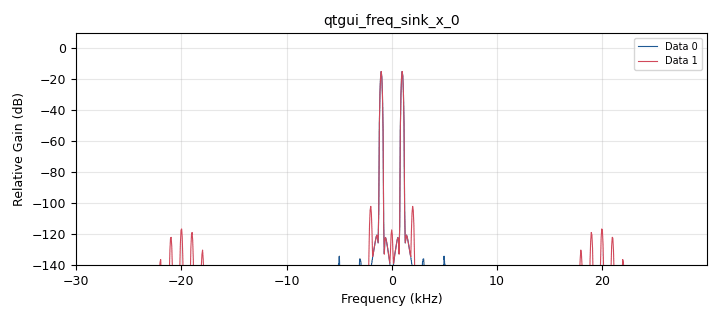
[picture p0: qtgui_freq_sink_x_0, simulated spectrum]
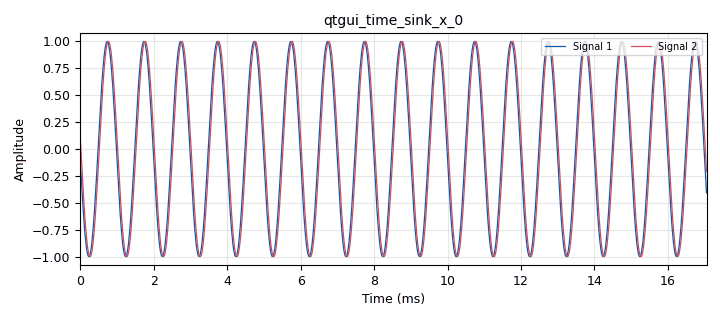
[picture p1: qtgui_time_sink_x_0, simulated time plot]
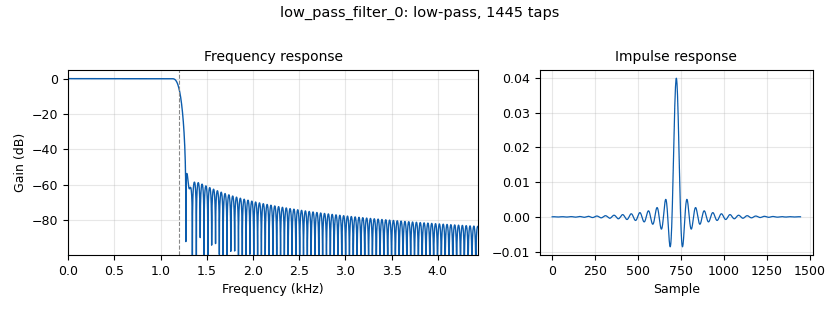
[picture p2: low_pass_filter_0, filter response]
options:
  parameters:
    author: Erik & Mohsin
    description: Receiving AM signals.
    generate_options: qt_gui
    id: am_comm
    output_language: python
    title: '"AM Communications"'
  states: {}

blocks:
- name: Ac
  id: variable_qtgui_entry
  parameters:
    type: real
    value: '1'
  states: {}
- name: An
  id: variable_qtgui_entry
  parameters:
    type: real
    value: '0'
  states: {}
- name: a
  id: variable_qtgui_entry
  parameters:
    type: real
    value: '1'
  states: {}
- name: fc
  id: variable_qtgui_entry
  parameters:
    type: int
    value: '10000'
  states: {}
- name: samp_rate
  id: variable
  parameters:
    value: '60000'
  states: {}
- name: analog_const_source_x_0
  id: analog_const_source_x
  parameters:
    const: Ac*Ac*a
    type: float
  states: {}
- name: analog_noise_source_x_0
  id: analog_noise_source_x
  parameters:
    amp: An
    noise_type: analog.GR_GAUSSIAN
    seed: '0'
    type: float
  states: {}
- name: analog_sig_source_x_0
  id: analog_sig_source_x
  parameters:
    amp: a
    freq: '1000'
    offset: '0'
    phase: '0'
    samp_rate: samp_rate
    type: float
    waveform: analog.GR_COS_WAVE
  states: {}
- name: analog_sig_source_x_0_0
  id: analog_sig_source_x
  parameters:
    amp: Ac
    freq: fc
    offset: '0'
    phase: '0'
    samp_rate: samp_rate
    type: float
    waveform: analog.GR_COS_WAVE
  states: {}
- name: audio_sink_0
  id: audio_sink
  parameters:
    device_name: plughw
    ok_to_block: 'False'
    samp_rate: samp_rate
  states: {}
- name: blocks_add_const_vxx_0
  id: blocks_add_const_vxx
  parameters:
    const: '-(Ac**2)*(1+a**2/2)/2'
    type: float
  states: {}
- name: blocks_add_const_vxx_0_0
  id: blocks_add_const_vxx
  parameters:
    const: '1'
    type: float
  states: {}
- name: blocks_add_xx_0
  id: blocks_add_xx
  parameters:
    type: float
  states: {}
- name: blocks_divide_xx_0
  id: blocks_divide_xx
  parameters:
    type: float
  states: {}
- name: blocks_divide_xx_0_0
  id: blocks_divide_xx
  parameters:
    type: float
  states: {}
- name: blocks_multiply_xx_0
  id: blocks_multiply_xx
  parameters:
    type: float
  states: {}
- name: blocks_multiply_xx_0_0
  id: blocks_multiply_xx
  parameters:
    type: float
  states: {}
- name: low_pass_filter_0
  id: low_pass_filter
  parameters:
    cutoff_freq: '1200'
    decim: '1'
    gain: '1'
    samp_rate: samp_rate
    type: fir_filter_fff
    width: '100'
    win: window.WIN_HAMMING
  states: {}
- name: power_0
  id: power
  parameters: {}
  states: {}
- name: power_1
  id: power
  parameters: {}
  states: {}
- name: qtgui_freq_sink_x_0
  id: qtgui_freq_sink_x
  parameters:
    bw: samp_rate
    fc: '0'
    fftsize: '1024'
    nconnections: '2'
    type: float
  states: {}
- name: qtgui_number_sink_0
  id: qtgui_number_sink
  parameters:
    graph_type: qtgui.NUM_GRAPH_HORIZ
    name: '"SNR"'
    type: float
  states: {}
- name: qtgui_time_sink_x_0
  id: qtgui_time_sink_x
  parameters:
    nconnections: '2'
    size: '1024'
    srate: samp_rate
    type: float
  states: {}

connections:
- [analog_const_source_x_0, '0', blocks_divide_xx_0, '1']
- [analog_noise_source_x_0, '0', blocks_add_xx_0, '0']
- [analog_noise_source_x_0, '0', power_0, '0']
- [analog_sig_source_x_0, '0', blocks_add_const_vxx_0_0, '0']
- [analog_sig_source_x_0, '0', qtgui_freq_sink_x_0, '0']
- [analog_sig_source_x_0, '0', qtgui_time_sink_x_0, '0']
- [analog_sig_source_x_0_0, '0', blocks_multiply_xx_0, '1']
- [blocks_add_const_vxx_0, '0', blocks_divide_xx_0, '0']
- [blocks_add_const_vxx_0_0, '0', blocks_multiply_xx_0, '0']
- [blocks_add_xx_0, '0', blocks_multiply_xx_0_0, '0']
- [blocks_add_xx_0, '0', blocks_multiply_xx_0_0, '1']
- [blocks_add_xx_0, '0', power_1, '0']
- [blocks_divide_xx_0, '0', audio_sink_0, '0']
- [blocks_divide_xx_0, '0', qtgui_freq_sink_x_0, '1']
- [blocks_divide_xx_0, '0', qtgui_time_sink_x_0, '1']
- [blocks_divide_xx_0_0, '0', qtgui_number_sink_0, '0']
- [blocks_multiply_xx_0, '0', blocks_add_xx_0, '1']
- [blocks_multiply_xx_0_0, '0', low_pass_filter_0, '0']
- [low_pass_filter_0, '0', blocks_add_const_vxx_0, '0']
- [power_0, '0', blocks_divide_xx_0_0, '1']
- [power_1, '0', blocks_divide_xx_0_0, '0']

metadata:
  file_format: 1
